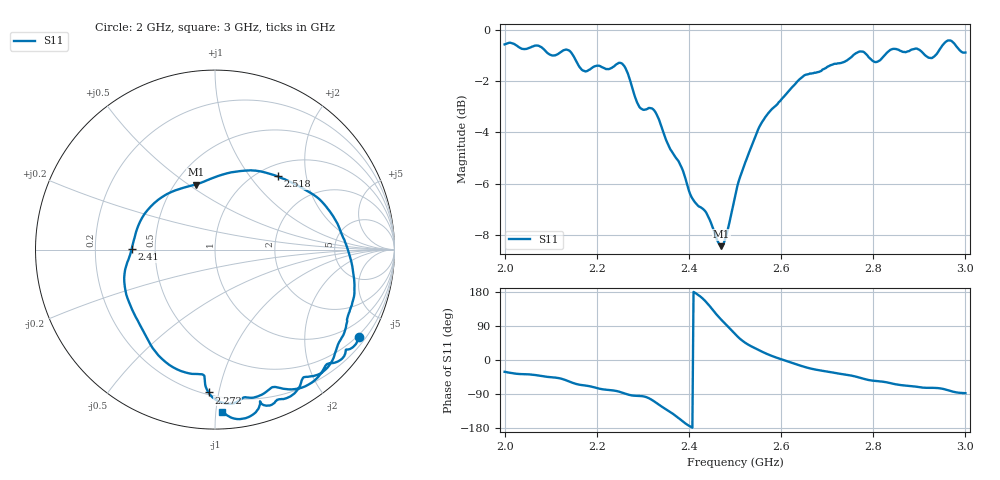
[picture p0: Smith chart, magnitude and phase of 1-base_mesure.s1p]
! ZVRE, 3.52
! symbol freq-unit parameter-type data-format keyword impedance-ohm
#  HZ  S  RI  R  50
! freq  reS11  imS11
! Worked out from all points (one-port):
!   401 points, 2 GHz to 3 GHz, reference 50 ohm
!   lowest |S11| = -8.4 dB at 2.47 GHz (marker M1), VSWR 2.22, Z = 31.5 + j26.7 ohm
!   |S11| at or under -10 dB: nowhere
!   S11 on the Smith chart (normalised r, x): 2 GHz: 0.44, -3.54; 2.272 GHz: 0.21, -0.93; 2.41 GHz: 0.37, +0.00; 2.518 GHz: 1.20, +1.38; 3 GHz: 0.10, -1.04
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2e9  0.8026 -0.4852
2.0675e9  0.7166 -0.5973
2.125e9  0.5841 -0.6976
2.145e9  0.4651 -0.7741
2.1625e9  0.3547 -0.7695
2.25e9  0.0886 -0.8588
2.2725e9  -0.0362 -0.796
2.29e9  -0.0583 -0.7121
2.305e9  -0.0853 -0.6942
2.325e9  -0.2335 -0.6558
2.3425e9  -0.3595 -0.5288
2.375e9  -0.4867 -0.273
2.41e9  -0.4647 0.00251
2.4375e9  -0.3914 0.2007
2.4525e9  -0.2683 0.3091
2.47e9  -0.1078 0.3623
2.5e9  0.1705 0.4401
2.5175e9  0.3482 0.4084
2.565e9  0.6401 0.2127
2.625e9  0.7672 -0.1087
2.6675e9  0.7548 -0.3289
2.75e9  0.67 -0.5738
2.7825e9  0.571 -0.6977
2.875e9  0.3421 -0.8423
2.9275e9  0.2509 -0.8455
2.9475e9  0.2347 -0.8957
2.9675e9  0.1387 -0.9444
3e9  0.0384 -0.9034
